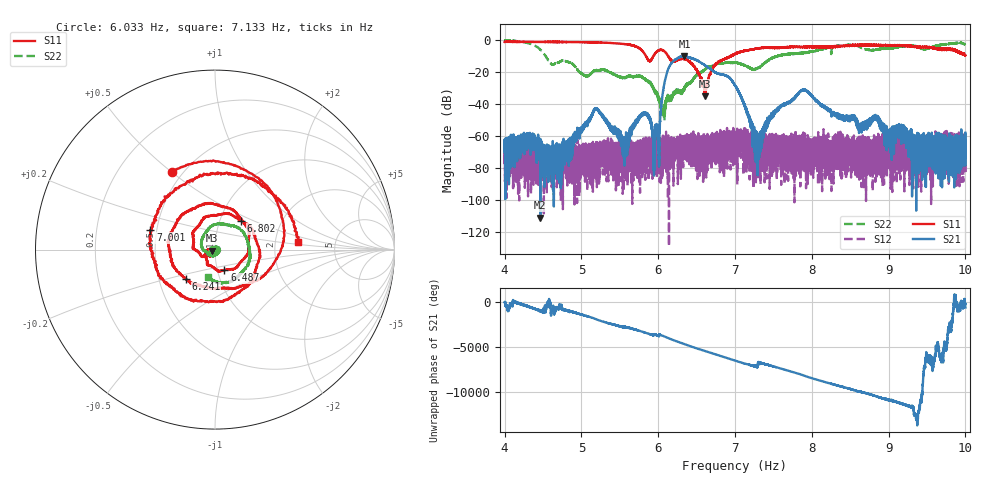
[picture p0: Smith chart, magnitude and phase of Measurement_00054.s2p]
!Created with skrf (http://scikit-rf.org).
# Hz S RI R 50.0
!freq ReS11 ImS11 ReS21 ImS21 ReS12 ImS12 ReS22 ImS22
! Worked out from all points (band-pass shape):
!   14001 points, 4 Hz to 10 Hz, reference 50 ohm
!   highest |S21| = -10.03 dB at 6.341 Hz (marker M1); lowest = -111.1 dB at 4.465 Hz (marker M2)
!   |S21| within 3 dB of the highest: 6.198146 Hz to 6.199252 Hz (1.106 mHz wide, 0.0178 % of centre); 6.199 Hz to 6.521 Hz (321.2 mHz wide, 5.05 % of centre)
!   lowest |S11| = -35.2 dB at 6.612 Hz (marker M3), VSWR 1.04, Z = 48.4 - j0.65 ohm
!   |S11| at or under -10 dB: 5.841 Hz to 5.937 Hz (95.84 mHz wide, 1.63 % of centre); 6.129 Hz to 6.938 Hz (808.3 mHz wide, 12.4 % of centre); 6.939007 Hz to 6.940531 Hz (1.524 mHz wide, 0.022 % of centre)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
!   |S22| runs from -50.2 to -0.2 dB; largest |S21 - S12| = 0.32
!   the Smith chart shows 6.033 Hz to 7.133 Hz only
!   S11 on the Smith chart (normalised r, x): 6.033 Hz: 0.44, +0.50; 6.241 Hz: 0.69, -0.24; 6.487 Hz: 1.08, -0.25; 6.802 Hz: 1.25, +0.42; 7.001 Hz: 0.46, +0.12; 7.133 Hz: 2.72, +0.28
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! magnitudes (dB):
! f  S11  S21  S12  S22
! 4 Hz  -1.1  -64.6  -72.2  -0.2
! 4.465 Hz  -1.1  -111.1  -68.0  -5.9
! 5 Hz  -1.3  -56.9  -73.7  -20.8
! 5.191 Hz  -1.4  -42.6  -67.1  -18.8
! 5.551 Hz  -2.4  -67.7  -70.6  -23.3
! 5.809 Hz  -7.6  -45.8  -71.0  -23.7
! 6 Hz  -6.6  -60.0  -64.0  -34.8
! 6.033 Hz  -6.1  -44.7  -79.8  -40.7
! 6.109 Hz  -8.5  -21.0  -69.5  -37.2
! 6.241 Hz  -12.7  -11.6  -61.9  -31.9
! 6.341 Hz  -11.7  -10.0  -65.8  -30.2
! 6.487 Hz  -17.9  -12.3  -63.1  -22.6
! 6.612 Hz  -35.2  -15.8  -69.7  -18.1
! 6.802 Hz  -13.4  -21.2  -72.3  -14.6
! 7 Hz  -8.6  -28.3  -65.1  -14.0
! 7.001 Hz  -8.5  -28.3  -60.8  -14.1
! 7.133 Hz  -6.6  -41.7  -73.6  -16.0
! 7.307 Hz  -5.2  -62.2  -66.9  -17.2
! 7.586 Hz  -4.7  -42.3  -68.8  -9.6
! 8 Hz  -4.3  -34.6  -67.6  -6.9
! 9 Hz  -3.3  -61.0  -68.8  -5.0
! 10 Hz  -9.4  -57.9  -67.8  -3.1
